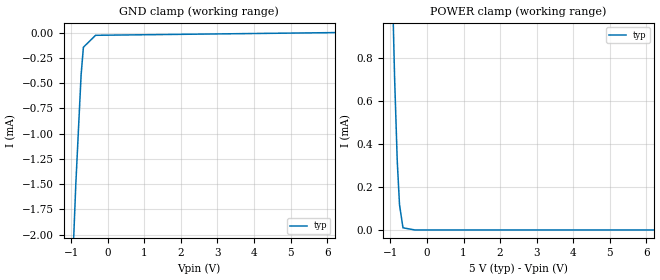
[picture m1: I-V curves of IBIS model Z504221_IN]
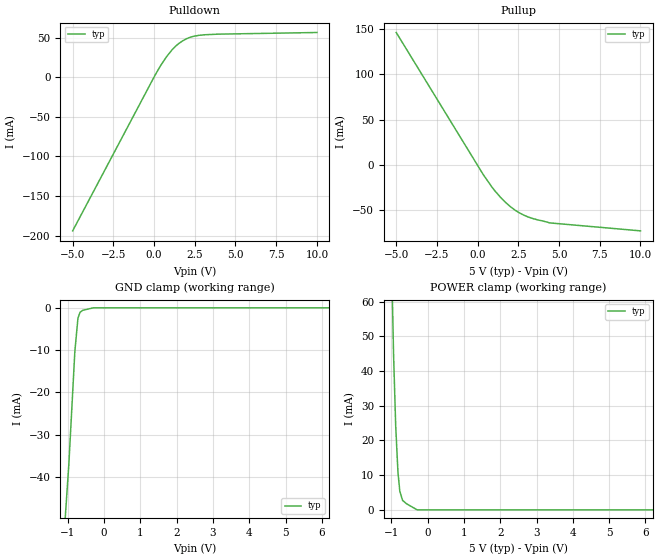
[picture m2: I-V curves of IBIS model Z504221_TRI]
| YOU ARE ONLY AUTHORIZED TO USE THIS SOFTWARE
| ACCORDING TO LICENSOR'S LICENSE RESTRICTIONS.
[IBIS Ver] 3.1
[File Name] mc74hc374an.ibs
[File Rev] 2.0
[Source] Measured and created by ICX Technology
[Date] Friday 7/14/00 9:08:09 AM
[Copyright]
| (C) COPYRIGHT 1993-2000
| MENTOR GRAPHICS CORPORATION
| ICX STANDARD LIBRARY, ICX PROJECT MODELING,
| ICX CUSTOM MODELING, ICX VENDOR MODEL
| ALL RIGHTS RESERVED.
| THE FOLLOWING ARE TRADEMARKS OR SERVICE MARKS OF
| MENTOR GRAPHICS CORPORATION:ICX (R), ICX STANDARD
| LIBRARY(R), ICX PROJECT MODELING(R), ICX CUSTOM
| MODELING(R), qualityIBIS(TM), MODELVIEWER(TM),
| AND MODELEDITOR(TM)
| ALL COPIES OF SOFTWARE, INCLUDING BUT NOT LIMITED TO
| ANY MODIFICATIONS, ENHANCEMENTS OR DERIVATIVE WORKS,
| MUST CONTAIN ALL MENTOR GRAPHICS CORPORATION'S
| NOTICES AND LEGENDS, INCLUDING THOSE EMBEDDED IN
| SOFTWARE AND THOSE AFFIXED TO SOFTWARE MEDIUM
| AND CONTAINER, AS RECEIVED FROM MENTOR GRAPHICS
| CORPORATION.
|  ZAP Model Builder 2.7
[Component] MC74HC374AN
[Manufacturer] OnSemiconductor
[Package]
| variable   typ   min   max
R_pkg  .216ohms NA NA
L_pkg  5.76nH NA NA
C_pkg  1.29pF NA NA
[Pin] signal_name  model_name  R_pin  L_pin C_pin
1 _G Z504221_IN .232 9.76n 1.87p
2 Q0 Z504221_TRI .224 7.26n 1.58p
3 D0 Z504221_IN .216 5.26n 1.29p
4 D1 Z504221_IN .208 3.76n 1.0p
5 Q1 Z504221_TRI .2 2.76n .71p
6 Q2 Z504221_TRI .2 2.76n .71p
7 D2 Z504221_IN .208 3.76n 1.0p
8 D3 Z504221_IN .216 5.26n 1.29p
9 Q3 Z504221_TRI .224 7.26n 1.58p
10 GROUND GND .232 9.76n 1.87p
11 CLK Z504221_IN .232 9.76n 1.87p
12 Q4 Z504221_TRI .224 7.26n 1.58p
13 D4 Z504221_IN .216 5.26n 1.29p
14 D5 Z504221_IN .208 3.76n 1.0p
15 Q5 Z504221_TRI .2 2.76n .71p
16 Q6 Z504221_TRI .2 2.76n .71p
17 D6 Z504221_IN .208 3.76n 1.0p
18 D7 Z504221_IN .216 5.26n 1.29p
19 Q7 Z504221_TRI .224 7.26n 1.58p
20 VCC POWER .232 9.76n 1.87p
| Models and submodels in the file (2): Z504221_IN (Input), Z504221_TRI (3-state)
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| (C) COPYRIGHT 1993-2000
| MENTOR GRAPHICS CORPORATION
| ICX STANDARD LIBRARY, ICX PROJECT MODELING,
| ICX CUSTOM MODELING, ICX VENDOR MODEL
| ALL RIGHTS RESERVED.
| THE FOLLOWING ARE TRADEMARKS OR SERVICE MARKS OF
| MENTOR GRAPHICS CORPORATION:ICX (R), ICX STANDARD
| LIBRARY(R), ICX PROJECT MODELING(R), ICX CUSTOM
| MODELING(R), qualityIBIS(TM), MODELVIEWER(TM),
| AND MODELEDITOR(TM)
| ALL COPIES OF SOFTWARE, INCLUDING BUT NOT LIMITED TO
| ANY MODIFICATIONS, ENHANCEMENTS OR DERIVATIVE WORKS,
| MUST CONTAIN ALL MENTOR GRAPHICS CORPORATION'S
| NOTICES AND LEGENDS, INCLUDING THOSE EMBEDDED IN
| SOFTWARE AND THOSE AFFIXED TO SOFTWARE MEDIUM
| AND CONTAINER, AS RECEIVED FROM MENTOR GRAPHICS
| CORPORATION.
| Model Application Version 1.89 2/18/99.
[Model] Z504221_IN
Model_type Input
Vinl = 1.000V
Vinh = 3.500V
C_comp 4.000pF NA NA
| variable typ   min   max
[Voltage Range] 5.000V NA NA
[GND Clamp Reference] 0.000V NA NA
[POWER Clamp Reference] 5.000V NA NA
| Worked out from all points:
|   GND clamp passes 1 mA (typ) near -0.81 V on its own axis
|   POWER clamp passes 1 mA (typ) near -0.92 V on its own axis
[GND Clamp]
-5V       -39.31mA   NA         NA
-872.7mV  -1.503mA   NA         NA
-727.5mV  -418.2uA   NA         NA
-664.9mV  -145.3uA   NA         NA
-332.5mV  -27.01uA   NA         NA
10V       15.23uA    NA         NA
[POWER Clamp]
-5V       38.04mA    NA         NA
-1.385V   4.725mA    NA         NA
-1.054V   1.917mA    NA         NA
-884mV    710.3uA    NA         NA
-811mV    320.6uA    NA         NA
-749mV    116.9uA    NA         NA
-654mV    10uA       NA         NA
-327mV    0A         NA         NA
10V       0A         NA         NA
| (C) COPYRIGHT 1993-2000
| MENTOR GRAPHICS CORPORATION
| ICX STANDARD LIBRARY, ICX PROJECT MODELING,
| ICX CUSTOM MODELING, ICX VENDOR MODEL
| ALL RIGHTS RESERVED.
| THE FOLLOWING ARE TRADEMARKS OR SERVICE MARKS OF
| MENTOR GRAPHICS CORPORATION:ICX (R), ICX STANDARD
| LIBRARY(R), ICX PROJECT MODELING(R), ICX CUSTOM
| MODELING(R), qualityIBIS(TM), MODELVIEWER(TM),
| AND MODELEDITOR(TM)
| ALL COPIES OF SOFTWARE, INCLUDING BUT NOT LIMITED TO
| ANY MODIFICATIONS, ENHANCEMENTS OR DERIVATIVE WORKS,
| MUST CONTAIN ALL MENTOR GRAPHICS CORPORATION'S
| NOTICES AND LEGENDS, INCLUDING THOSE EMBEDDED IN
| SOFTWARE AND THOSE AFFIXED TO SOFTWARE MEDIUM
| AND CONTAINER, AS RECEIVED FROM MENTOR GRAPHICS
| CORPORATION.
| Model Application Version 1.89 2/18/99.
[Model] Z504221_TRI
Model_type 3-state
Vref=0.000V
Rref=500.0Mohms
Cref=50.00pF
Vmeas=2.500V
C_comp 8.000pF NA NA
| variable typ   min   max
[Voltage Range] 5.000V NA NA
[POWER Clamp Reference] 5.000V NA NA
[Pullup Reference] 5.000V NA NA
[Pulldown Reference] 0.000V NA NA
[GND Clamp Reference] 0.000V NA NA
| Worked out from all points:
|   slope of the pulldown table from 0 to 0.75 V, typ, clamps not added: 29.8 ohm
|   slope of the pullup table from 0 to 0.75 V, typ, clamps not added: 36.3 ohm
|   GND clamp passes 1 mA (typ) near -0.65 V on its own axis
[GND Clamp]
-5V       -368.7mA   NA         NA
-1.222V   -66.27mA   NA         NA
-1.103V   -54.17mA   NA         NA
-966.9mV  -36.77mA   NA         NA
-803.8mV  -10.37mA   NA         NA
-717.8mV  -2.432mA   NA         NA
-658.8mV  -1.044mA   NA         NA
-585.8mV  -590uA     NA         NA
-292.9mV  0A         NA         NA
10V       0A         NA         NA
[Pulldown]
-5V       -194.1mA   NA         NA
64.2mV    2.63mA     NA         NA
410.9mV   14.89mA    NA         NA
759.8mV   25.61mA    NA         NA
1.106V    34.55mA    NA         NA
1.517V    42.47mA    NA         NA
1.777V    46.13mA    NA         NA
2.267V    50.71mA    NA         NA
3.046V    53.45mA    NA         NA
10V       56.37mA    NA         NA
[Pullup]
-5V       146.3mA    NA         NA
332mV     -10.56mA   NA         NA
1.068V    -29.08mA   NA         NA
1.675V    -41.04mA   NA         NA
1.988V    -46.04mA   NA         NA
2.579V    -53.39mA   NA         NA
3.092V    -57.75mA   NA         NA
4.405V    -64.32mA   NA         NA
10V       -73.16mA   NA         NA
[POWER Clamp]
-5V       3.015A     NA         NA
-1.162V   176.5mA    NA         NA
-1.011V   82.06mA    NA         NA
-937mV    44.81mA    NA         NA
-878mV    24.18mA    NA         NA
-816mV    10.83mA    NA         NA
-765mV    5.387mA    NA         NA
-689mV    2.732mA    NA         NA
-577mV    1.736mA    NA         NA
-288.5mV  0A         NA         NA
10V       0A         NA         NA
[Ramp]
| variable typ min max
dV/dt_r 2.826/2.022n NA NA
dV/dt_f 2.826/1.873n NA NA
R_load = 500.0Ohms
